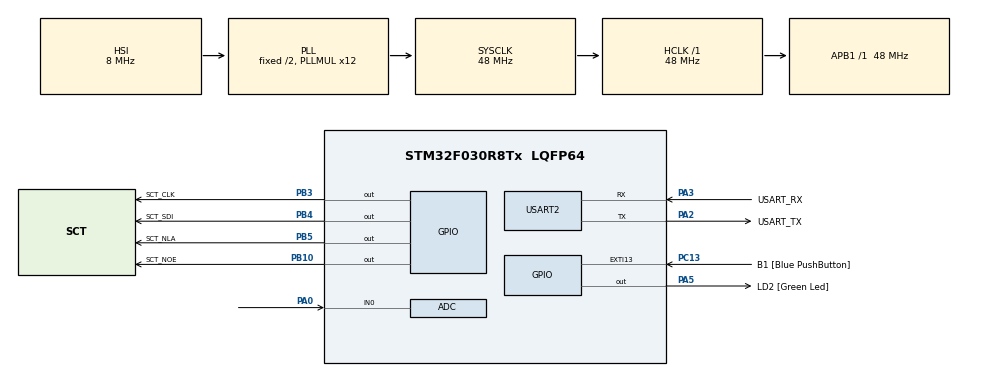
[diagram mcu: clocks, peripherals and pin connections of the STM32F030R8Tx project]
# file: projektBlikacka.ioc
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ADC.ContinuousConvMode=ENABLE
ADC.Overrun=ADC_OVR_DATA_OVERWRITTEN
ADC.SamplingTime=ADC_SAMPLETIME_239CYCLES_5
Mcu.Family=STM32F0
Mcu.Name=STM32F030R8Tx
Mcu.Package=LQFP64
NVIC.ADC1_IRQn=true\:0\:0\:false\:false\:true\:true\:true\:true
PA0.Mode=IN0
PA0.Signal=ADC_IN0
PA13.GPIO_Label=TMS
PA13.Mode=Serial_Wire
PA13.Signal=SYS_SWDIO
PA14.GPIO_Label=TCK
PA14.Mode=Serial_Wire
PA14.Signal=SYS_SWCLK
PA2.GPIO_Label=USART_TX
PA2.GPIO_Mode=GPIO_MODE_AF_PP
PA2.GPIO_PuPd=GPIO_NOPULL
PA2.GPIO_Speed=GPIO_SPEED_FREQ_LOW
PA2.Mode=Asynchronous
PA2.Signal=USART2_TX
PA3.GPIO_Label=USART_RX
PA3.GPIO_Mode=GPIO_MODE_AF_PP
PA3.GPIO_PuPd=GPIO_NOPULL
PA3.GPIO_Speed=GPIO_SPEED_FREQ_LOW
PA3.Mode=Asynchronous
PA3.Signal=USART2_RX
PA5.GPIO_Label=LD2 [Green Led]
PA5.GPIO_Mode=GPIO_MODE_OUTPUT_PP
PA5.GPIO_PuPd=GPIO_NOPULL
PA5.GPIO_Speed=GPIO_SPEED_FREQ_LOW
PA5.Signal=GPIO_Output
PB10.GPIO_Label=SCT_NOE
PB10.Signal=GPIO_Output
PB3.GPIO_Label=SCT_CLK
PB3.Signal=GPIO_Output
PB4.GPIO_Label=SCT_SDI
PB4.Signal=GPIO_Output
PB5.GPIO_Label=SCT_NLA
PB5.Signal=GPIO_Output
PC13.GPIO_Label=B1 [Blue PushButton]
PC13.GPIO_ModeDefaultEXTI=GPIO_MODE_IT_FALLING
PC13.Signal=GPXTI13
PC14-OSC32_IN.Mode=LSE-External-Oscillator
PC14-OSC32_IN.Signal=RCC_OSC32_IN
PC15-OSC32_OUT.Mode=LSE-External-Oscillator
PC15-OSC32_OUT.Signal=RCC_OSC32_OUT
PF0-OSC_IN.Mode=HSE-External-Clock-Source
PF0-OSC_IN.Signal=RCC_OSC_IN
PF1-OSC_OUT.Signal=RCC_OSC_OUT
ProjectManager.HeapSize=0x200
ProjectManager.StackSize=0x400
ProjectManager.TargetToolchain=STM32CubeIDE
RCC.AHBFreq_Value=48000000
RCC.APB1Freq_Value=48000000
RCC.APB1TimFreq_Value=48000000
RCC.HCLKFreq_Value=48000000
RCC.PLLMUL=RCC_PLL_MUL12
RCC.SYSCLKFreq_VALUE=48000000
RCC.SYSCLKSource=RCC_SYSCLKSOURCE_PLLCLK
USART2.VirtualMode-Asynchronous=VM_ASYNC
board=NUCLEO-F030R8

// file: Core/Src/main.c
/* USER CODE BEGIN Header */
/**
  ******************************************************************************
  * @file           : main.c
  * @brief          : Main program body
  ******************************************************************************
  * @attention
  *
  * Copyright (c) 2025 STMicroelectronics.
  * All rights reserved.
  *
  * This software is licensed under terms that can be found in the LICENSE file
  * in the root directory of this software component.
  * If no LICENSE file comes with this software, it is provided AS-IS.
  *
  ******************************************************************************
  */
/* USER CODE END Header */
#include "main.h"

/* USER CODE BEGIN Includes */
#include "sct.h"
#include <stdio.h>
/* USER CODE END Includes */

ADC_HandleTypeDef hadc;

UART_HandleTypeDef huart2;

/* USER CODE BEGIN PV */
static uint32_t raw_pot;
/* USER CODE END PV */

void SystemClock_Config(void);
static void MX_GPIO_Init(void);
static void MX_USART2_UART_Init(void);
static void MX_ADC_Init(void);

/* USER CODE BEGIN 0 */
void HAL_ADC_ConvCpltCallback(ADC_HandleTypeDef* hadc)
{
	static uint32_t avg_pot;
	raw_pot = avg_pot >> 12; //ADC_Q = 12 - can vary
	avg_pot -= raw_pot;
	avg_pot += HAL_ADC_GetValue(hadc);
}
void Send_UInt32(UART_HandleTypeDef *huart, uint32_t value)
{
    char buffer[11];  // Pro 32-bitovou hodnotu a znak pro '\0'
    int len = sprintf(buffer, "%lu", value); // Převod uint32_t na řetězec (decimální)

    // Odeslání řetězce přes UART
    if (HAL_UART_Transmit(huart, (uint8_t*)buffer, len, 1000) != HAL_OK)
    {
        // Chybové hlášení, pokud odesílání selže
        Error_Handler();
    }
}
/* USER CODE END 0 */

int main(void)
{

  /* MCU Configuration--------------------------------------------------------*/

  /* Reset of all peripherals, Initializes the Flash interface and the Systick. */
  HAL_Init();

  /* Configure the system clock */
  SystemClock_Config();

  /* Initialize all configured peripherals */
  MX_GPIO_Init();
  MX_USART2_UART_Init();
  MX_ADC_Init();
  /* USER CODE BEGIN 2 */
  HAL_ADCEx_Calibration_Start(&hadc);
  HAL_ADC_Start_IT(&hadc);//Start ADC
  sct_init();
  HAL_Delay(1000);
  sct_ledOn(1);
  HAL_Delay(100);
  /* USER CODE END 2 */

  /* Infinite loop */
  /* USER CODE BEGIN WHILE */
  //pozice pos pri upwards==1 koresponduje s rozsvicenou LED diodou ve smeru rozsveceni
  //slo by resit casovacem s prerusenim ktery da true na vlajku o posunuti na dalsi pozici
  while (1)
  {
	  sct_valueWithLEDs(raw_pot*480.9/4095+20);//+offset
	  //HAL_UART_Transmit(&huart2, "\n", sizeof("\n"), 100); //odesila 1 byte (8bitu) - reprezentovanych charem - na straně příjemce jsou rozkódovaný jako ASCII hodnoty (52,48,57,51,0)
	  //Send_UInt32(&huart2, raw_pot);
	  //HAL_Delay(1000);
	  //LED--
	  static uint8_t pos=1;
	  static uint8_t upwards=1;
	  static uint32_t last_tick=0;

	  if(HAL_GetTick()-last_tick>=raw_pot*480.9/4095+20)
	  {
		  if(upwards==1)
		  {
			  pos++;
			  if(pos<=8)
			  {
				  sct_ledOn(pos);
			  }
			  if(pos>=3)
			  {
				  sct_ledOff(pos-3);
				  if(pos==10)
				  {
					  upwards=0;
				  }
			  }
		  }
		  else if(upwards==0)
		  {
			  pos--;
			  if(pos>=3)
			  {
				  sct_ledOn(pos-2);
			  }
			  if(pos<=7)
			  {
				  sct_ledOff(pos+1);
				  if(pos==1)
				  {
					  upwards=1;
				  }
			  }
		  }
		  last_tick=HAL_GetTick();
	  }
    /* USER CODE END WHILE */

  }
}

void SystemClock_Config(void)
{
  RCC_OscInitTypeDef RCC_OscInitStruct = {0};
  RCC_ClkInitTypeDef RCC_ClkInitStruct = {0};

  /** Initializes the RCC Oscillators according to the specified parameters
  * in the RCC_OscInitTypeDef structure.
  */
  RCC_OscInitStruct.OscillatorType = RCC_OSCILLATORTYPE_HSI|RCC_OSCILLATORTYPE_HSI14;
  RCC_OscInitStruct.HSIState = RCC_HSI_ON;
  RCC_OscInitStruct.HSI14State = RCC_HSI14_ON;
  RCC_OscInitStruct.HSICalibrationValue = RCC_HSICALIBRATION_DEFAULT;
  RCC_OscInitStruct.HSI14CalibrationValue = 16;
  RCC_OscInitStruct.PLL.PLLState = RCC_PLL_ON;
  RCC_OscInitStruct.PLL.PLLSource = RCC_PLLSOURCE_HSI;
  RCC_OscInitStruct.PLL.PLLMUL = RCC_PLL_MUL12;
  RCC_OscInitStruct.PLL.PREDIV = RCC_PREDIV_DIV1;
  if (HAL_RCC_OscConfig(&RCC_OscInitStruct) != HAL_OK)
  {
    Error_Handler();
  }

  /** Initializes the CPU, AHB and APB buses clocks
  */
  RCC_ClkInitStruct.ClockType = RCC_CLOCKTYPE_HCLK|RCC_CLOCKTYPE_SYSCLK
                              |RCC_CLOCKTYPE_PCLK1;
  RCC_ClkInitStruct.SYSCLKSource = RCC_SYSCLKSOURCE_PLLCLK;
  RCC_ClkInitStruct.AHBCLKDivider = RCC_SYSCLK_DIV1;
  RCC_ClkInitStruct.APB1CLKDivider = RCC_HCLK_DIV1;

  if (HAL_RCC_ClockConfig(&RCC_ClkInitStruct, FLASH_LATENCY_1) != HAL_OK)
  {
    Error_Handler();
  }
}

static void MX_ADC_Init(void)
{

  ADC_ChannelConfTypeDef sConfig = {0};

  /** Configure the global features of the ADC (Clock, Resolution, Data Alignment and number of conversion)
  */
  hadc.Instance = ADC1;
  hadc.Init.ClockPrescaler = ADC_CLOCK_ASYNC_DIV1;
  hadc.Init.Resolution = ADC_RESOLUTION_12B;
  hadc.Init.DataAlign = ADC_DATAALIGN_RIGHT;
  hadc.Init.ScanConvMode = ADC_SCAN_DIRECTION_FORWARD;
  hadc.Init.EOCSelection = ADC_EOC_SINGLE_CONV;
  hadc.Init.LowPowerAutoWait = DISABLE;
  hadc.Init.LowPowerAutoPowerOff = DISABLE;
  hadc.Init.ContinuousConvMode = ENABLE;
  hadc.Init.DiscontinuousConvMode = DISABLE;
  hadc.Init.ExternalTrigConv = ADC_SOFTWARE_START;
  hadc.Init.ExternalTrigConvEdge = ADC_EXTERNALTRIGCONVEDGE_NONE;
  hadc.Init.DMAContinuousRequests = DISABLE;
  hadc.Init.Overrun = ADC_OVR_DATA_OVERWRITTEN;
  if (HAL_ADC_Init(&hadc) != HAL_OK)
  {
    Error_Handler();
  }

  /** Configure for the selected ADC regular channel to be converted.
  */
  sConfig.Channel = ADC_CHANNEL_0;
  sConfig.Rank = ADC_RANK_CHANNEL_NUMBER;
  sConfig.SamplingTime = ADC_SAMPLETIME_239CYCLES_5;
  if (HAL_ADC_ConfigChannel(&hadc, &sConfig) != HAL_OK)
  {
    Error_Handler();
  }

}

static void MX_USART2_UART_Init(void)
{

  huart2.Instance = USART2;
  huart2.Init.BaudRate = 38400;
  huart2.Init.WordLength = UART_WORDLENGTH_8B;
  huart2.Init.StopBits = UART_STOPBITS_1;
  huart2.Init.Parity = UART_PARITY_NONE;
  huart2.Init.Mode = UART_MODE_TX_RX;
  huart2.Init.HwFlowCtl = UART_HWCONTROL_NONE;
  huart2.Init.OverSampling = UART_OVERSAMPLING_16;
  huart2.Init.OneBitSampling = UART_ONE_BIT_SAMPLE_DISABLE;
  huart2.AdvancedInit.AdvFeatureInit = UART_ADVFEATURE_NO_INIT;
  if (HAL_UART_Init(&huart2) != HAL_OK)
  {
    Error_Handler();
  }

}

static void MX_GPIO_Init(void)
{
  GPIO_InitTypeDef GPIO_InitStruct = {0};

  /* GPIO Ports Clock Enable */
  __HAL_RCC_GPIOC_CLK_ENABLE();
  __HAL_RCC_GPIOF_CLK_ENABLE();
  __HAL_RCC_GPIOA_CLK_ENABLE();
  __HAL_RCC_GPIOB_CLK_ENABLE();

  /*Configure GPIO pin Output Level */
  HAL_GPIO_WritePin(LD2_GPIO_Port, LD2_Pin, GPIO_PIN_RESET);

  /*Configure GPIO pin Output Level */
  HAL_GPIO_WritePin(GPIOB, SCT_NOE_Pin|SCT_CLK_Pin|SCT_SDI_Pin|SCT_NLA_Pin, GPIO_PIN_RESET);

  /*Configure GPIO pin : B1_Pin */
  GPIO_InitStruct.Pin = B1_Pin;
  GPIO_InitStruct.Mode = GPIO_MODE_IT_FALLING;
  GPIO_InitStruct.Pull = GPIO_NOPULL;
  HAL_GPIO_Init(B1_GPIO_Port, &GPIO_InitStruct);

  /*Configure GPIO pin : LD2_Pin */
  GPIO_InitStruct.Pin = LD2_Pin;
  GPIO_InitStruct.Mode = GPIO_MODE_OUTPUT_PP;
  GPIO_InitStruct.Pull = GPIO_NOPULL;
  GPIO_InitStruct.Speed = GPIO_SPEED_FREQ_LOW;
  HAL_GPIO_Init(LD2_GPIO_Port, &GPIO_InitStruct);

  /*Configure GPIO pins : SCT_NOE_Pin SCT_CLK_Pin SCT_SDI_Pin SCT_NLA_Pin */
  GPIO_InitStruct.Pin = SCT_NOE_Pin|SCT_CLK_Pin|SCT_SDI_Pin|SCT_NLA_Pin;
  GPIO_InitStruct.Mode = GPIO_MODE_OUTPUT_PP;
  GPIO_InitStruct.Pull = GPIO_NOPULL;
  GPIO_InitStruct.Speed = GPIO_SPEED_FREQ_LOW;
  HAL_GPIO_Init(GPIOB, &GPIO_InitStruct);

}

void Error_Handler(void)
{
  __disable_irq();
  while (1)
  {
  }
}
